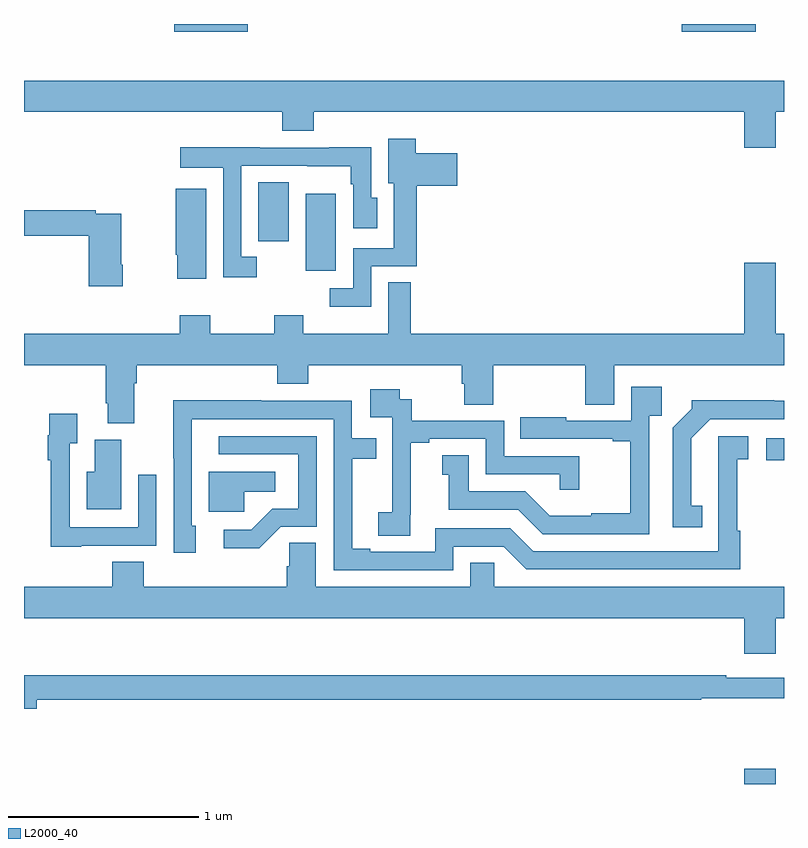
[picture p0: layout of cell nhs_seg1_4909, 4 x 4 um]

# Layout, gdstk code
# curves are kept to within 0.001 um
import gdstk
lib = gdstk.Library(unit=1e-6, precision=1e-09)
def R(c, l, rs):  # rectangles x0, y0, x1, y1
    for r in rs: c.add(gdstk.rectangle(r[:2], r[2:], *l))
def P(c, l, *ps):  # polygons
    for p in ps: c.add(gdstk.Polygon(p, *l))
L2000_40 = (2000, 40)

nhs_seg1_4909 = lib.new_cell('nhs_seg1_4909')
R(nhs_seg1_4909, L2000_40, [(380.792,544.199,380.956,544.279), (380.907,545.902,381,546.018), (378.482,546.9,378.64,547.306), (378.233,547.056,378.394,547.367), (377.79,548.159,378.178,548.199), (380.462,548.159,380.851,548.199)])
P(nhs_seg1_4909, L2000_40, [(380.956,547.736),(381,547.736),(381,547.9),(377,547.9),(377,547.736),(378.359,547.736),(378.359,547.637),(378.524,547.637),(378.524,547.736),(380.792,547.736),(380.792,547.548),(380.956,547.548)],
  [(378.828,546.924),(379.066,546.924),(379.066,547.349),(379.279,547.349),(379.279,547.519),(379.061,547.519),(379.061,547.594),(378.917,547.594),(378.917,547.361),(378.947,547.361),(378.947,547.02),(378.732,547.02),(378.732,546.807),(378.609,546.807),(378.609,546.71),(378.828,546.71)],
  [(378.226,546.975),(378.144,546.975),(378.144,547.452),(378.49,547.452),(378.49,547.451),(378.72,547.451),(378.72,547.355),(378.732,547.355),(378.732,547.125),(378.859,547.125),(378.859,547.284),(378.828,547.284),(378.828,547.55),(378.607,547.55),(378.607,547.548),(378.241,547.548),(378.241,547.55),(377.823,547.55),(377.823,547.442),(378.048,547.442),(378.048,546.867),(378.226,546.867)],
  [(377.959,547.333),(377.798,547.333),(377.798,546.984),(377.806,546.984),(377.806,546.858),(377.959,546.858)],
  [(377.52,546.931),(377.512,546.931),(377.512,547.2),(377.378,547.2),(377.378,547.22),(377,547.22),(377,547.084),(377.342,547.084),(377.342,546.819),(377.52,546.819)],
  [(379.036,546.839),(378.917,546.839),(378.917,546.568),(378.471,546.568),(378.471,546.667),(378.316,546.667),(378.316,546.568),(377.979,546.568),(377.979,546.667),(377.819,546.667),(377.819,546.568),(377,546.568),(377,546.404),(377.429,546.404),(377.429,546.202),(377.441,546.202),(377.441,546.097),(377.581,546.097),(377.581,546.308),(377.594,546.308),(377.594,546.404),(378.332,546.404),(378.332,546.305),(378.497,546.305),(378.497,546.404),(379.304,546.404),(379.304,546.306),(379.316,546.306),(379.316,546.196),(379.469,546.196),(379.469,546.404),(379.955,546.404),(379.955,546.196),(380.107,546.196),(380.107,546.404),(381,546.404),(381,546.568),(380.956,546.568),(380.956,546.943),(380.792,546.943),(380.792,546.568),(379.036,546.568)],
  [(380.292,546.137),(380.357,546.137),(380.357,546.289),(380.196,546.289),(380.196,546.111),(379.855,546.111),(379.855,546.13),(379.612,546.13),(379.612,546.015),(380.099,546.015),(380.099,546.003),(380.191,546.003),(380.191,545.623),(379.985,545.623),(379.985,545.611),(379.766,545.611),(379.638,545.739),(379.342,545.739),(379.342,545.93),(379.202,545.93),(379.202,545.827),(379.235,545.827),(379.235,545.643),(379.602,545.643),(379.731,545.514),(380.292,545.514)],
  [(379.034,545.617),(379.036,545.617),(379.036,545.995),(379.132,545.995),(379.132,546.015),(379.431,546.015),(379.431,545.829),(379.821,545.829),(379.821,545.748),(379.922,545.748),(379.922,545.925),(379.527,545.925),(379.527,546.111),(379.04,546.111),(379.04,546.225),(378.978,546.225),(378.978,546.277),(378.822,546.277),(378.822,546.129),(378.939,546.129),(378.939,545.825),(378.938,545.825),(378.938,545.628),(378.864,545.628),(378.864,545.506),(379.034,545.506)],
  [(379.26,545.448),(379.524,545.448),(379.644,545.328),(380.771,545.328),(380.771,545.531),(380.754,545.531),(380.754,545.907),(380.812,545.907),(380.812,546.028),(380.654,546.028),(380.655,545.424),(379.68,545.424),(379.56,545.544),(379.164,545.544),(379.164,545.421),(378.823,545.421),(378.823,545.436),(378.727,545.436),(378.727,545.91),(378.854,545.91),(378.854,546.018),(378.726,546.018),(378.726,546.216),(378.248,546.216),(378.248,546.218),(377.786,546.218),(377.787,545.415),(377.905,545.415),(377.905,545.559),(377.883,545.559),(377.883,546.12),(378.63,546.12),(378.63,545.325),(379.26,545.325)],
  [(380.57,545.663),(380.512,545.663),(380.512,546.019),(380.613,546.12),(381,546.12),(381,546.216),(380.948,546.216),(380.948,546.218),(380.514,546.218),(380.514,546.173),(380.415,546.074),(380.415,545.55),(380.57,545.55)],
  [(377.301,545.454),(377.697,545.454),(377.697,545.827),(377.601,545.827),(377.601,545.55),(377.241,545.55),(377.241,545.992),(377.281,545.992),(377.281,546.148),(377.133,546.148),(377.133,546.035),(377.125,546.035),(377.125,545.903),(377.14,545.903),(377.14,545.447),(377.301,545.447)],
  [(378.351,545.553),(378.54,545.553),(378.54,546.03),(378.024,546.03),(378.024,545.934),(378.444,545.934),(378.444,545.649),(378.306,545.649),(378.195,545.538),(378.051,545.538),(378.051,545.441),(378.238,545.441)],
  [(377.512,546.012),(377.372,546.012),(377.372,545.842),(377.33,545.842),(377.33,545.645),(377.512,545.645)],
  [(378.159,545.738),(378.322,545.738),(378.322,545.842),(377.972,545.842),(377.972,545.631),(378.159,545.631)],
  [(380.956,545.072),(381,545.072),(381,545.236),(379.476,545.236),(379.476,545.363),(379.349,545.363),(379.349,545.236),(378.535,545.236),(378.535,545.468),(378.396,545.468),(378.396,545.345),(378.383,545.345),(378.383,545.236),(377.63,545.236),(377.63,545.369),(377.465,545.369),(377.465,545.236),(377,545.236),(377,545.072),(380.792,545.072),(380.792,544.884),(380.956,544.884)],
  [(377.068,544.642),(380.564,544.642),(380.564,544.65),(381,544.65),(381,544.758),(380.696,544.758),(380.696,544.771),(377,544.771),(377,544.595),(377.068,544.595)])

lib.write_gds('nhs_seg1_4909.gds')
